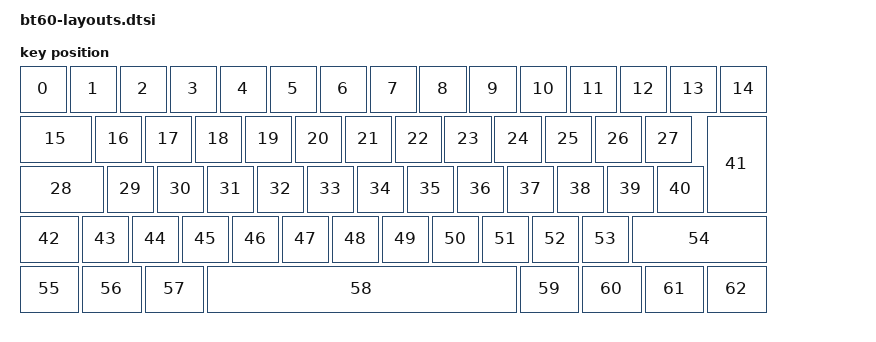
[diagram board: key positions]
#include <layouts/common/60percent/iso.dtsi>
#include <physical_layouts.dtsi>

/ {
    layouts_common_60_percent_split_backspace_position_map: layouts_common_60_percent_split_backspace_position_map {
        compatible = "zmk,physical-layout-position-map";

        complete;
    };
};


/ {
    layout_60_iso_split_backspace: layout_60_split_backspace {
        compatible = "zmk,physical-layout";
        display-name = "60% ISO Split Backspace";

        keys  //                     w   h    x    y     rot    rx    ry
            = <&key_physical_attrs 100 100    0    0       0     0     0>     /*    00 ESC           */
            , <&key_physical_attrs 100 100  100    0       0     0     0>     /*    01 N1            */
            , <&key_physical_attrs 100 100  200    0       0     0     0>     /*    02 N2            */
            , <&key_physical_attrs 100 100  300    0       0     0     0>     /*    03 N3            */
            , <&key_physical_attrs 100 100  400    0       0     0     0>     /*    04 N4            */
            , <&key_physical_attrs 100 100  500    0       0     0     0>     /*    05 N5            */
            , <&key_physical_attrs 100 100  600    0       0     0     0>     /*    06 N6            */
            , <&key_physical_attrs 100 100  700    0       0     0     0>     /*    07 N7            */
            , <&key_physical_attrs 100 100  800    0       0     0     0>     /*    08 N8            */
            , <&key_physical_attrs 100 100  900    0       0     0     0>     /*    09 N9            */
            , <&key_physical_attrs 100 100 1000    0       0     0     0>     /*    10 N0            */
            , <&key_physical_attrs 100 100 1100    0       0     0     0>     /*    11 MINUS         */
            , <&key_physical_attrs 100 100 1200    0       0     0     0>     /*    12 EQUAL         */
            , <&key_physical_attrs 100 100 1300    0       0     0     0>     /*    13 DEL           */
            , <&key_physical_attrs 100 100 1400    0       0     0     0>     /*    14 BSPC          */
            , <&key_physical_attrs 150 100    0  100       0     0     0>     /*    62 TAB           */
            , <&key_physical_attrs 100 100  150  100       0     0     0>     /*    15 Q             */
            , <&key_physical_attrs 100 100  250  100       0     0     0>     /*    16 W             */
            , <&key_physical_attrs 100 100  350  100       0     0     0>     /*    17 E             */
            , <&key_physical_attrs 100 100  450  100       0     0     0>     /*    18 R             */
            , <&key_physical_attrs 100 100  550  100       0     0     0>     /*    19 T             */
            , <&key_physical_attrs 100 100  650  100       0     0     0>     /*    10 Y             */
            , <&key_physical_attrs 100 100  750  100       0     0     0>     /*    21 U             */
            , <&key_physical_attrs 100 100  850  100       0     0     0>     /*    22 I             */
            , <&key_physical_attrs 100 100  950  100       0     0     0>     /*    23 O             */
            , <&key_physical_attrs 100 100 1050  100       0     0     0>     /*    24 P             */
            , <&key_physical_attrs 100 100 1150  100       0     0     0>     /*    27 LBKT          */
            , <&key_physical_attrs 100 100 1250  100       0     0     0>     /*    28 RBKT          */
            , <&key_physical_attrs 175 100    0  200       0     0     0>     /*    29 CLCK          */
            , <&key_physical_attrs 100 100  175  200       0     0     0>     /*    30 A             */
            , <&key_physical_attrs 100 100  275  200       0     0     0>     /*    31 S             */
            , <&key_physical_attrs 100 100  375  200       0     0     0>     /*    32 D             */
            , <&key_physical_attrs 100 100  475  200       0     0     0>     /*    33 F             */
            , <&key_physical_attrs 100 100  575  200       0     0     0>     /*    34 G             */
            , <&key_physical_attrs 100 100  675  200       0     0     0>     /*    35 H             */
            , <&key_physical_attrs 100 100  775  200       0     0     0>     /*    36 J             */
            , <&key_physical_attrs 100 100  875  200       0     0     0>     /*    37 K             */
            , <&key_physical_attrs 100 100  975  200       0     0     0>     /*    38 L             */
            , <&key_physical_attrs 100 100 1075  200       0     0     0>     /*    40 SEMI          */
            , <&key_physical_attrs 100 100 1175  200       0     0     0>     /*    41 SQT           */
            , <&key_physical_attrs 100 100 1275  200       0     0     0>     /*    42 NON_US_HASH   */
            , <&key_physical_attrs 125 200 1375  100       0     0     0>     /*    43 RET           */
            , <&key_physical_attrs 125 100    0  300       0     0     0>     /*    44 LSHIFT        */
            , <&key_physical_attrs 100 100  125  300       0     0     0>     /*    45 NON_US_BSLH   */
            , <&key_physical_attrs 100 100  225  300       0     0     0>     /*    46 Z             */
            , <&key_physical_attrs 100 100  325  300       0     0     0>     /*    47 X             */
            , <&key_physical_attrs 100 100  425  300       0     0     0>     /*    48 C             */
            , <&key_physical_attrs 100 100  525  300       0     0     0>     /*    49 V             */
            , <&key_physical_attrs 100 100  625  300       0     0     0>     /*    50 B             */
            , <&key_physical_attrs 100 100  725  300       0     0     0>     /*    51 N             */
            , <&key_physical_attrs 100 100  825  300       0     0     0>     /*    52 M             */
            , <&key_physical_attrs 100 100  925  300       0     0     0>     /*    53 COMMA         */
            , <&key_physical_attrs 100 100 1025  300       0     0     0>     /*    64 DOT           */
            , <&key_physical_attrs 100 100 1125  300       0     0     0>     /*    65 FSLH          */
            , <&key_physical_attrs 275 100 1225  300       0     0     0>     /*    54 RSHIFT        */
            , <&key_physical_attrs 125 100    0  400       0     0     0>     /*    55 LCTRL         */
            , <&key_physical_attrs 125 100  125  400       0     0     0>     /*    56 LGUI          */
            , <&key_physical_attrs 125 100  250  400       0     0     0>     /*    57 ALT           */ 
            , <&key_physical_attrs 625 100  375  400       0     0     0>     /*    58 SPACE         */
            , <&key_physical_attrs 125 100 1000  400       0     0     0>     /*    59 ALT_GR        */
            , <&key_physical_attrs 125 100 1125  400       0     0     0>     /*    61 RCTRL         */
            , <&key_physical_attrs 125 100 1250  400       0     0     0>     /*    60 K_APP         */
            , <&key_physical_attrs 125 100 1375  400       0     0     0>     /*    39 FN            */
            ;
    };
};

&layouts_common_60_percent_split_backspace_position_map {
    layout_60_iso_split_backspace_posmap: layout_60_iso_split_backspace {
        physical-layout = <&layout_60_iso_split_backspace>;
        positions
            = < 0  1  2  3  4  5  6  7  8  9 10 11 12 13 14 63>
            , <15 16 17 18 19 20 21 22 23 24 25 26 27 63>
            , <28 29 30 31 32 33 34 35 36 37 38 39 41>
            , <42 43 44 45 46 47 48 49 50 51 52 53 53 65 66>
            , <55 56 57 58 59 60 62 61 40>
            ;
    };
};
